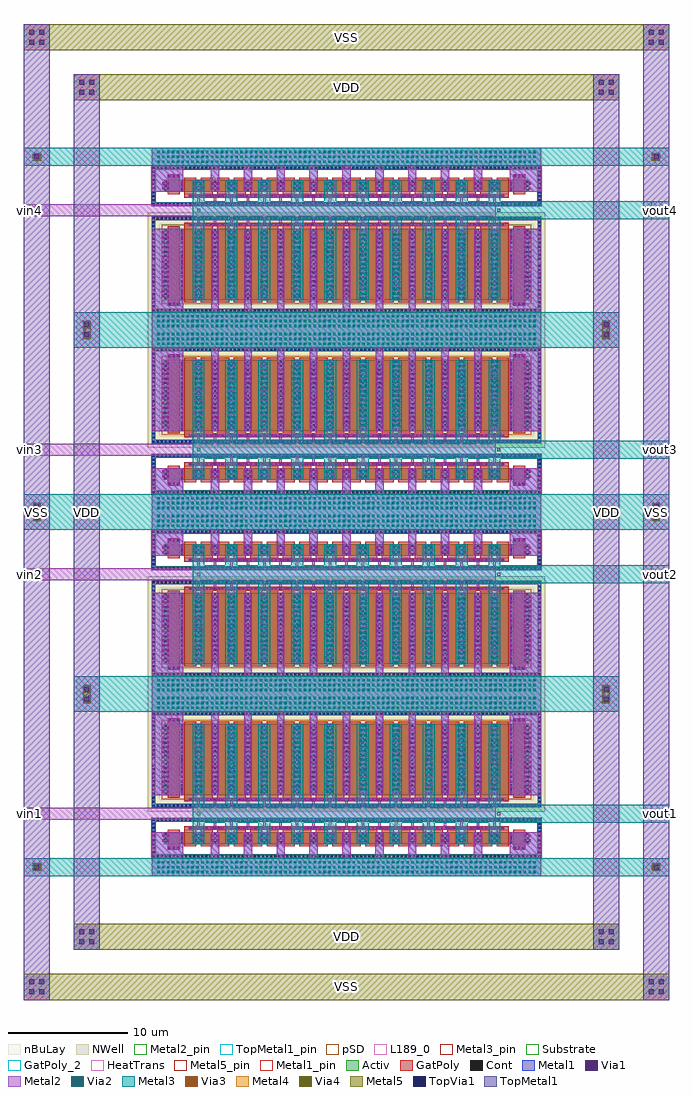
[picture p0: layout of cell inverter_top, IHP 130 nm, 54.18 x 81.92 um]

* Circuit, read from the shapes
.subckt inverter_top VDD VSS vin1 vin2 vin3 vin4 vout1 vout2 vout3 vout4
XM1 VSS VSS VSS VSS sg13_lv_nmos w=1u l=1u m=8
XM2 vout1 vin1 VSS VSS sg13_lv_nmos w=1u l=1u m=20
XM3 vout2 vin2 VSS VSS sg13_lv_nmos w=1u l=1u m=20
XM4 vout3 vin3 VSS VSS sg13_lv_nmos w=1u l=1u m=20
XM5 vout4 vin4 VSS VSS sg13_lv_nmos w=1u l=1u m=20
XM6 VDD VDD VDD VDD sg13_lv_pmos w=6u l=1u m=8
XM7 vout1 vin1 VDD VDD sg13_lv_pmos w=6u l=1u m=20
XM8 vout2 vin2 VDD VDD sg13_lv_pmos w=6u l=1u m=20
XM9 vout3 vin3 VDD VDD sg13_lv_pmos w=6u l=1u m=20
XM10 vout4 vin4 VDD VDD sg13_lv_pmos w=6u l=1u m=20
.ends

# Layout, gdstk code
from math import pi, radians
import gdstk
lib = gdstk.Library(unit=1e-6, precision=1e-09)
def R(c, l, rs):  # rectangles x0, y0, x1, y1
    for r in rs: c.add(gdstk.rectangle(r[:2], r[2:], *l))
def A(c, l, x, y, w, h, nx, ny, dx, dy):  # array of equal rectangles
    R(c, l, [(x+i*dx, y+j*dy, x+i*dx+w, y+j*dy+h) for i in range(nx) for j in range(ny)])
def P(c, l, *ps):  # polygons
    for p in ps: c.add(gdstk.Polygon(p, *l))
Activ = (1, 0)
GatPoly = (5, 0)
GatPoly_2 = (5, 2)
Cont = (6, 0)
Metal1 = (8, 0)
Metal1_pin = (8, 2)
Metal2 = (10, 0)
Metal2_pin = (10, 2)
pSD = (14, 0)
Via1 = (19, 0)
Via2 = (29, 0)
Metal3 = (30, 0)
Metal3_pin = (30, 2)
NWell = (31, 0)
nBuLay = (32, 0)
Substrate = (40, 0)
Via3 = (49, 0)
Metal4 = (50, 0)
HeatTrans = (51, 0)
Via4 = (66, 0)
Metal5 = (67, 0)
Metal5_pin = (67, 2)
TopVia1 = (125, 0)
TopMetal1 = (126, 0)
TopMetal1_pin = (126, 2)
L189_0 = (189, 0)

pmos = lib.new_cell('pmos')
A(pmos, Activ, 0, 0, 0.3, 0.3, 23, 1, 1.38, 0)
R(pmos, Activ, [(-1.01,-0.71,-0.71,6.71), (31.37,-0.71,31.67,6.71), (0,0,30.66,6), (-1.01,6.71,31.67,7.01)])
P(pmos, Activ, [(-1.01,-1.01),(-1.01,6.71),(-0.71,6.71),(-0.71,-0.71),(31.37,-0.71),(31.37,6.71),(-1.01,6.71),(-1.01,7.01),(31.67,7.01),(31.67,-1.01)])
A(pmos, GatPoly, 0.34, -0.18, 1, 6.36, 22, 1, 1.38, 0)
R(pmos, GatPoly, [(0.34,-0.18,1.34,6.18)])
A(pmos, Cont, -0.94, -0.94, 0.16, 0.16, 48, 2, 0.34, 7.72)
A(pmos, Cont, 15.46, -0.94, 0.16, 0.16, 48, 2, 0.34, 7.72)
A(pmos, Cont, -0.94, -0.6, 0.16, 0.16, 1, 10, 0, 0.34)
A(pmos, Cont, 31.44, -0.6, 0.16, 0.16, 1, 10, 0, 0.34)
A(pmos, Cont, 0.07, 0.07, 0.16, 0.16, 23, 4, 1.38, 0.355)
A(pmos, Cont, 0.07, 1.495, 0.16, 0.16, 23, 4, 1.38, 0.355)
A(pmos, Cont, 0.07, 2.92, 0.16, 0.16, 23, 4, 1.38, 0.355)
A(pmos, Cont, -0.94, 3.04, 0.16, 0.16, 1, 11, 0, 0.34)
A(pmos, Cont, 31.44, 3.04, 0.16, 0.16, 1, 11, 0, 0.34)
A(pmos, Cont, 0.07, 4.345, 0.16, 0.16, 23, 4, 1.38, 0.355)
A(pmos, Cont, 0.07, 5.77, 0.16, 0.16, 23, 1, 1.38, 0)
A(pmos, Metal1, 1.45, 0, 0.16, 6, 22, 1, 1.38, 0)
R(pmos, Metal1, [(-1.01,-1.01,31.67,-0.71), (-1.01,-0.71,-0.71,6.71), (31.37,-0.71,31.67,6.71), (0.07,0,0.23,6), (0.07,0,0.23,6), (1.45,0,1.61,6), (-1.01,6.71,31.67,7.01)])
R(pmos, pSD, [(-0.18,-0.3,30.84,6.3)])
R(pmos, NWell, [(-1.36,-1.36,32.02,7.36), (-0.31,-0.31,30.97,6.31)])
R(pmos, nBuLay, [(-1.36,-0.36,-0.36,6.36), (31.02,-0.36,32.02,6.36), (-1.36,6.36,32.02,7.36)])
P(pmos, nBuLay, [(-1.36,-1.36),(-1.36,6.36),(-0.36,6.36),(-0.36,-0.36),(31.02,-0.36),(31.02,6.36),(-1.36,6.36),(-1.36,7.36),(32.02,7.36),(32.02,-1.36)])
R(pmos, Substrate, [(30.36,0,30.66,0.3)])
A(pmos, HeatTrans, 0.34, -0.18, 1, 6.36, 22, 1, 1.38, 0)
pmos.add(gdstk.Label('pmos', (0.84,3), layer=63, texttype=0))
pmos.add(gdstk.Label('well', (15.33,-0.86), layer=63, texttype=0))
pmos.add(gdstk.Label('pmos', (0.84,3), layer=51, texttype=0))
pmos.add(gdstk.Label('pmos', (2.22,3), layer=51, texttype=0))
pmos.add(gdstk.Label('pmos', (3.6,3), layer=51, texttype=0))
pmos.add(gdstk.Label('pmos', (4.98,3), layer=51, texttype=0))
pmos.add(gdstk.Label('pmos', (6.36,3), layer=51, texttype=0))
pmos.add(gdstk.Label('pmos', (7.74,3), layer=51, texttype=0))
pmos.add(gdstk.Label('pmos', (9.12,3), layer=51, texttype=0))
pmos.add(gdstk.Label('pmos', (10.5,3), layer=51, texttype=0))
pmos.add(gdstk.Label('pmos', (11.88,3), layer=51, texttype=0))
pmos.add(gdstk.Label('pmos', (13.26,3), layer=51, texttype=0))
pmos.add(gdstk.Label('pmos', (14.64,3), layer=51, texttype=0))
pmos.add(gdstk.Label('pmos', (16.02,3), layer=51, texttype=0))
pmos.add(gdstk.Label('pmos', (17.4,3), layer=51, texttype=0))
pmos.add(gdstk.Label('pmos', (18.78,3), layer=51, texttype=0))
pmos.add(gdstk.Label('pmos', (20.16,3), layer=51, texttype=0))
pmos.add(gdstk.Label('pmos', (21.54,3), layer=51, texttype=0))
pmos.add(gdstk.Label('pmos', (22.92,3), layer=51, texttype=0))
pmos.add(gdstk.Label('pmos', (24.3,3), layer=51, texttype=0))
pmos.add(gdstk.Label('pmos', (25.68,3), layer=51, texttype=0))
pmos.add(gdstk.Label('pmos', (27.06,3), layer=51, texttype=0))
pmos.add(gdstk.Label('pmos', (28.44,3), layer=51, texttype=0))
pmos.add(gdstk.Label('pmos', (29.82,3), layer=51, texttype=0))

nmos = lib.new_cell('nmos')
A(nmos, Activ, 0, 0, 0.3, 0.3, 23, 1, 1.38, 0)
R(nmos, Activ, [(-1.01,-0.89,-0.71,1.89), (31.37,-0.89,31.67,1.89), (0,0,30.66,1), (-1.01,1.89,31.67,2.19)])
P(nmos, Activ, [(-1.01,-1.19),(-1.01,1.89),(-0.71,1.89),(-0.71,-0.89),(31.37,-0.89),(31.37,1.89),(-1.01,1.89),(-1.01,2.19),(31.67,2.19),(31.67,-1.19)])
A(nmos, GatPoly, 0.34, -0.18, 1, 1.36, 22, 1, 1.38, 0)
R(nmos, GatPoly_2, [(0.34,-0.18,1.34,1.18)])
A(nmos, Cont, -0.94, -1.12, 0.16, 0.16, 48, 2, 0.34, 3.08)
A(nmos, Cont, 15.46, -1.12, 0.16, 0.16, 48, 2, 0.34, 3.08)
A(nmos, Cont, -0.94, -0.78, 0.16, 0.16, 1, 4, 0, 0.34)
A(nmos, Cont, 31.44, -0.78, 0.16, 0.16, 1, 4, 0, 0.34)
A(nmos, Cont, 0.07, 0.07, 0.16, 0.16, 23, 3, 1.38, 0.35)
A(nmos, Cont, -0.94, 0.6, 0.16, 0.16, 1, 4, 0, 0.34)
A(nmos, Cont, 31.44, 0.6, 0.16, 0.16, 1, 4, 0, 0.34)
A(nmos, Metal1, 0.07, 0, 0.16, 1, 23, 1, 1.38, 0)
R(nmos, Metal1, [(-1.01,-1.19,31.67,-0.89), (-1.01,-0.89,-0.71,1.89), (31.37,-0.89,31.67,1.89), (-1.01,1.89,31.67,2.19)])
R(nmos, Metal1_pin, [(0.07,0,0.23,1), (1.45,0,1.61,1)])
R(nmos, pSD, [(-1.04,-0.86,-0.68,1.86), (31.34,-0.86,31.7,1.86), (-1.04,1.86,31.7,2.22)])
P(nmos, pSD, [(-1.04,-1.22),(-1.04,1.86),(-0.68,1.86),(-0.68,-0.86),(31.34,-0.86),(31.34,1.86),(-1.04,1.86),(-1.04,2.22),(31.7,2.22),(31.7,-1.22)])
R(nmos, Substrate, [(-1.04,-0.86,-0.68,1.86), (31.34,-0.86,31.7,1.86), (-1.04,1.86,31.7,2.22)])
P(nmos, Substrate, [(-1.04,-1.22),(-1.04,1.86),(-0.68,1.86),(-0.68,-0.86),(31.34,-0.86),(31.34,1.86),(-1.04,1.86),(-1.04,2.22),(31.7,2.22),(31.7,-1.22)])
A(nmos, HeatTrans, 0.34, -0.18, 1, 1.36, 22, 1, 1.38, 0)
nmos.add(gdstk.Label('nmos', (0.84,0.5), layer=63, texttype=0))
nmos.add(gdstk.Label('sub!', (15.33,-1.04), layer=63, texttype=0))
nmos.add(gdstk.Label('nmos', (0.84,0.5), layer=51, texttype=0))
nmos.add(gdstk.Label('nmos', (2.22,0.5), layer=51, texttype=0))
nmos.add(gdstk.Label('nmos', (3.6,0.5), layer=51, texttype=0))
nmos.add(gdstk.Label('nmos', (4.98,0.5), layer=51, texttype=0))
nmos.add(gdstk.Label('nmos', (6.36,0.5), layer=51, texttype=0))
nmos.add(gdstk.Label('nmos', (7.74,0.5), layer=51, texttype=0))
nmos.add(gdstk.Label('nmos', (9.12,0.5), layer=51, texttype=0))
nmos.add(gdstk.Label('nmos', (10.5,0.5), layer=51, texttype=0))
nmos.add(gdstk.Label('nmos', (11.88,0.5), layer=51, texttype=0))
nmos.add(gdstk.Label('nmos', (13.26,0.5), layer=51, texttype=0))
nmos.add(gdstk.Label('nmos', (14.64,0.5), layer=51, texttype=0))
nmos.add(gdstk.Label('nmos', (16.02,0.5), layer=51, texttype=0))
nmos.add(gdstk.Label('nmos', (17.4,0.5), layer=51, texttype=0))
nmos.add(gdstk.Label('nmos', (18.78,0.5), layer=51, texttype=0))
nmos.add(gdstk.Label('nmos', (20.16,0.5), layer=51, texttype=0))
nmos.add(gdstk.Label('nmos', (21.54,0.5), layer=51, texttype=0))
nmos.add(gdstk.Label('nmos', (22.92,0.5), layer=51, texttype=0))
nmos.add(gdstk.Label('nmos', (24.3,0.5), layer=51, texttype=0))
nmos.add(gdstk.Label('nmos', (25.68,0.5), layer=51, texttype=0))
nmos.add(gdstk.Label('nmos', (27.06,0.5), layer=51, texttype=0))
nmos.add(gdstk.Label('nmos', (28.44,0.5), layer=51, texttype=0))
nmos.add(gdstk.Label('nmos', (29.82,0.5), layer=51, texttype=0))

via_stack_21 = lib.new_cell('via_stack$21')
R(via_stack_21, Metal1, [(-15.93,-0.515,15.93,0.515)])
R(via_stack_21, Metal2, [(-15.93,-0.51,15.93,0.51)])
A(via_stack_21, Via1, -15.88, -0.505, 0.19, 0.19, 78, 3, 0.41, 0.41)
A(via_stack_21, Via2, -15.88, -0.505, 0.19, 0.19, 78, 3, 0.41, 0.41)
R(via_stack_21, Metal3, [(-15.93,-0.51,15.93,0.51)])

via_stack_13 = lib.new_cell('via_stack$13')
R(via_stack_13, GatPoly, [(-13.24,-0.15,13.24,0.15)])
A(via_stack_13, Cont, -13.17, -0.08, 0.16, 0.16, 78, 1, 0.34, 0)
R(via_stack_13, Metal1, [(-13.22,-0.08,13.22,0.08)])

via_stack_16 = lib.new_cell('via_stack$16')
R(via_stack_16, Metal1, [(-13.06,-0.105,13.06,0.105)])
R(via_stack_16, Metal2, [(-13.06,-0.1,13.06,0.1)])
A(via_stack_16, Via1, -13.01, -0.095, 0.19, 0.19, 64, 1, 0.41, 0)

via_stack_5 = lib.new_cell('via_stack$5')
R(via_stack_5, Metal1, [(-0.35,-0.31,0.35,0.31)])
R(via_stack_5, Metal2, [(-0.35,-0.305,0.35,0.305)])
R(via_stack_5, Via1, [(-0.3,-0.3,-0.11,-0.11), (0.11,-0.3,0.3,-0.11), (-0.3,0.11,-0.11,0.3), (0.11,0.11,0.3,0.3)])

via_stack_12 = lib.new_cell('via_stack$12')
R(via_stack_12, Metal1, [(-0.31,-2.81,0.31,2.81)])
R(via_stack_12, Metal2, [(-0.305,-2.81,0.305,2.81)])
A(via_stack_12, Via1, -0.3, -2.76, 0.19, 0.19, 1, 14, 0, 0.41)
A(via_stack_12, Via1, 0.11, -2.76, 0.19, 0.19, 1, 14, 0, 0.41)
A(via_stack_12, Via2, -0.3, -2.76, 0.19, 0.19, 1, 14, 0, 0.41)
A(via_stack_12, Via2, 0.11, -2.76, 0.19, 0.19, 1, 14, 0, 0.41)
R(via_stack_12, Metal3, [(-0.305,-2.81,0.305,2.81)])

via_stack_17 = lib.new_cell('via_stack$17')
R(via_stack_17, Metal1, [(-0.35,-0.31,0.35,0.31)])
R(via_stack_17, Metal2, [(-0.35,-0.305,0.35,0.305)])
R(via_stack_17, Via1, [(-0.3,-0.3,-0.11,-0.11), (0.11,-0.3,0.3,-0.11), (-0.3,0.11,-0.11,0.3), (0.11,0.11,0.3,0.3)])
R(via_stack_17, Via2, [(-0.3,-0.3,-0.11,-0.11), (0.11,-0.3,0.3,-0.11), (-0.3,0.11,-0.11,0.3), (0.11,0.11,0.3,0.3)])
R(via_stack_17, Metal3, [(-0.35,-0.305,0.35,0.305)])

via_stack_8 = lib.new_cell('via_stack$8')
R(via_stack_8, Metal1, [(-0.105,-0.35,0.105,0.35)])
R(via_stack_8, Metal2, [(-0.1,-0.35,0.1,0.35)])
R(via_stack_8, Via1, [(-0.095,-0.3,0.095,-0.11), (-0.095,0.11,0.095,0.3)])

via_stack_11 = lib.new_cell('via_stack$11')
R(via_stack_11, Metal1, [(-0.31,-2.81,0.31,2.81)])
R(via_stack_11, Metal2, [(-0.305,-2.81,0.305,2.81)])
A(via_stack_11, Via1, -0.3, -2.76, 0.19, 0.19, 1, 14, 0, 0.41)
A(via_stack_11, Via1, 0.11, -2.76, 0.19, 0.19, 1, 14, 0, 0.41)

via_stack_7 = lib.new_cell('via_stack$7')
R(via_stack_7, Metal1, [(-0.105,-2.81,0.105,2.81)])
R(via_stack_7, Metal2, [(-0.1,-2.81,0.1,2.81)])
A(via_stack_7, Via1, -0.095, -2.76, 0.19, 0.19, 1, 14, 0, 0.41)

via_stack_15 = lib.new_cell('via_stack$15')
R(via_stack_15, GatPoly, [(-0.49,-0.15,0.49,0.15)])
A(via_stack_15, Cont, -0.42, -0.08, 0.16, 0.16, 3, 1, 0.34, 0)
R(via_stack_15, Metal1, [(-0.555,-0.105,0.555,0.105)])
R(via_stack_15, Metal2, [(-0.555,-0.1,0.555,0.1)])
A(via_stack_15, Via1, -0.505, -0.095, 0.19, 0.19, 3, 1, 0.41, 0)

inverter = lib.new_cell('inverter')
R(inverter, GatPoly, [(1.7,2.21,2.7,2.51), (30.68,2.21,31.68,2.51), (3.08,3.87,30.3,4.17), (3.08,6.29,30.3,6.59), (1.7,12.95,2.7,13.25), (30.68,12.95,31.68,13.25)])
A(inverter, Metal1, 5.3, 1.5, 0.7, 2.19, 9, 1, 2.76, 0)
A(inverter, Metal1, 3.92, 2.69, 0.7, 1, 19, 1, 1.38, 0)
A(inverter, Metal1, 3.96, 6.77, 0.62, 6, 19, 1, 1.38, 0)
A(inverter, Metal1, 5.34, 6.77, 0.62, 7.01, 9, 1, 2.76, 0)
R(inverter, Metal1, [(0.35,0,33.03,1.5), (0.35,1.5,2.995,3.69), (16.44,1.5,16.94,1.8), (30.385,1.5,33.03,3.69), (1.645,2.21,2.755,2.51), (30.625,2.21,31.735,2.51), (1.16,2.69,1.86,3.69), (31.52,2.69,32.22,3.69), (3.47,3.915,29.91,4.125), (3.47,6.335,29.91,6.545), (0.35,6.77,2.995,13.78), (1.2,6.77,1.82,12.77), (2.785,6.77,2.995,12.77), (30.385,6.77,33.03,13.78), (30.385,6.77,30.595,12.77), (31.56,6.77,32.18,12.77), (1.645,12.95,2.755,13.25), (30.625,12.95,31.735,13.25), (16.44,13.48,16.94,13.78), (0.35,13.78,33.03,15.28)])
R(inverter, Metal1_pin, [(16.565,1.525,16.815,1.775), (16.565,13.505,16.815,13.755)])
A(inverter, Metal2, 5.3, 1.5, 0.7, 2.19, 9, 1, 2.76, 0)
A(inverter, Metal2, 3.92, 2.69, 0.7, 1, 19, 1, 1.38, 0)
A(inverter, Metal2, 4.165, 4.12, 0.21, 2.22, 19, 1, 1.38, 0)
A(inverter, Metal2, 3.96, 6.77, 0.62, 6, 19, 1, 1.38, 0)
A(inverter, Metal2, 5.34, 6.77, 0.62, 7.01, 9, 1, 2.76, 0)
R(inverter, Metal2, [(0.35,0,33.03,1.5), (0.35,1.5,2.995,3.69), (30.385,1.5,33.03,3.69), (1.645,2.21,2.755,2.51), (30.625,2.21,31.735,2.51), (1.16,2.69,1.86,3.69), (31.52,2.69,32.22,3.69), (3.47,3.915,29.91,4.125), (4.165,4.73,29.215,5.73), (3.47,6.335,29.91,6.545), (0.35,6.77,2.995,13.78), (1.2,6.77,1.82,12.77), (2.785,6.77,2.995,12.77), (30.385,6.77,33.03,13.78), (30.385,6.77,30.595,12.77), (31.56,6.77,32.18,12.77), (1.645,12.95,2.755,13.25), (30.625,12.95,31.735,13.25), (0.35,13.78,33.03,15.28)])
R(inverter, Metal2_pin, [(4.165,5.105,4.415,5.355)])
A(inverter, Metal3, 3.77, 2.69, 1, 10.08, 10, 1, 2.76, 0)
R(inverter, Metal3, [(0.35,0,33.03,1.5), (3.77,4.48,29.61,5.98), (17.57,4.48,29.61,5.98), (0.35,13.78,33.03,15.28)])
R(inverter, Metal3_pin, [(29.36,5.105,29.61,5.355)])
inverter.add(gdstk.Reference(pmos, (1.36,6.77)))
inverter.add(gdstk.Reference(nmos, (1.36,2.69)))
inverter.add(gdstk.Reference(via_stack_21, (16.69,14.53)))
inverter.add(gdstk.Reference(via_stack_13, (16.69,6.44)))
inverter.add(gdstk.Reference(via_stack_16, (16.69,6.44)))
inverter.add(gdstk.Reference(via_stack_5, (11.17,3.19)))
inverter.add(gdstk.Reference(via_stack_12, (4.27,9.77)))
inverter.add(gdstk.Reference(via_stack_13, (16.69,4.02)))
inverter.add(gdstk.Reference(via_stack_17, (4.27,3.19)))
inverter.add(gdstk.Reference(via_stack_17, (7.03,3.19)))
inverter.add(gdstk.Reference(via_stack_5, (31.87,3.19)))
inverter.add(gdstk.Reference(via_stack_5, (8.41,3.19)))
inverter.add(gdstk.Reference(via_stack_5, (5.65,3.19)))
inverter.add(gdstk.Reference(via_stack_8, (30.49,3.19)))
inverter.add(gdstk.Reference(via_stack_5, (1.51,3.19)))
inverter.add(gdstk.Reference(via_stack_17, (9.79,3.19)))
inverter.add(gdstk.Reference(via_stack_8, (2.89,3.19)))
inverter.add(gdstk.Reference(via_stack_11, (31.87,9.77)))
inverter.add(gdstk.Reference(via_stack_12, (9.79,9.77)))
inverter.add(gdstk.Reference(via_stack_7, (30.49,9.77)))
inverter.add(gdstk.Reference(via_stack_7, (2.89,9.77)))
inverter.add(gdstk.Reference(via_stack_11, (1.51,9.77)))
inverter.add(gdstk.Reference(via_stack_12, (7.03,9.77)))
inverter.add(gdstk.Reference(via_stack_11, (5.65,9.77)))
inverter.add(gdstk.Reference(via_stack_11, (8.41,9.77)))
inverter.add(gdstk.Reference(via_stack_15, (2.2,2.36)))
inverter.add(gdstk.Reference(via_stack_15, (31.18,2.36)))
inverter.add(gdstk.Reference(via_stack_15, (2.2,13.1)))
inverter.add(gdstk.Reference(via_stack_15, (31.18,13.1)))
inverter.add(gdstk.Reference(via_stack_12, (12.55,9.77)))
inverter.add(gdstk.Reference(via_stack_16, (16.69,4.02)))
inverter.add(gdstk.Reference(via_stack_17, (12.55,3.19)))
inverter.add(gdstk.Reference(via_stack_17, (15.31,3.19)))
inverter.add(gdstk.Reference(via_stack_5, (13.93,3.19)))
inverter.add(gdstk.Reference(via_stack_12, (15.31,9.77)))
inverter.add(gdstk.Reference(via_stack_11, (11.17,9.77)))
inverter.add(gdstk.Reference(via_stack_11, (13.93,9.77)))
inverter.add(gdstk.Reference(via_stack_11, (19.45,9.77)))
inverter.add(gdstk.Reference(via_stack_5, (22.21,3.19)))
inverter.add(gdstk.Reference(via_stack_12, (18.07,9.96)))
inverter.add(gdstk.Reference(via_stack_17, (29.11,3.19)))
inverter.add(gdstk.Reference(via_stack_17, (18.07,3.19)))
inverter.add(gdstk.Reference(via_stack_5, (19.45,3.19)))
inverter.add(gdstk.Reference(via_stack_5, (16.69,3.19)))
inverter.add(gdstk.Reference(via_stack_17, (20.83,3.19)))
inverter.add(gdstk.Reference(via_stack_12, (23.59,9.96)))
inverter.add(gdstk.Reference(via_stack_12, (20.83,9.96)))
inverter.add(gdstk.Reference(via_stack_11, (16.69,9.77)))
inverter.add(gdstk.Reference(via_stack_12, (26.35,9.96)))
inverter.add(gdstk.Reference(via_stack_17, (23.59,3.19)))
inverter.add(gdstk.Reference(via_stack_11, (24.97,9.77)))
inverter.add(gdstk.Reference(via_stack_5, (27.73,3.19)))
inverter.add(gdstk.Reference(via_stack_17, (26.35,3.19)))
inverter.add(gdstk.Reference(via_stack_5, (24.97,3.19)))
inverter.add(gdstk.Reference(via_stack_12, (29.11,9.96)))
inverter.add(gdstk.Reference(via_stack_11, (22.21,9.77)))
inverter.add(gdstk.Reference(via_stack_11, (27.73,9.77)))
inverter.add(gdstk.Reference(via_stack_21, (16.69,0.75)))
inverter.add(gdstk.Label('vin', (4.29,5.23), layer=10, texttype=25))
inverter.add(gdstk.Label('VSS', (16.69,1.65), layer=8, texttype=25))
inverter.add(gdstk.Label('VDD', (16.69,13.63), layer=8, texttype=25))
inverter.add(gdstk.Label('vout', (29.485,5.23), layer=30, texttype=25))

via_stack_19 = lib.new_cell('via_stack$19')
R(via_stack_19, Metal3, [(-0.305,-0.76,0.305,0.76)])
A(via_stack_19, Via3, -0.3, -0.71, 0.19, 0.19, 1, 4, 0, 0.41)
A(via_stack_19, Via3, 0.11, -0.71, 0.19, 0.19, 1, 4, 0, 0.41)
R(via_stack_19, Metal4, [(-0.305,-0.76,0.305,0.76)])
A(via_stack_19, Via4, -0.3, -0.71, 0.19, 0.19, 1, 4, 0, 0.41)
A(via_stack_19, Via4, 0.11, -0.71, 0.19, 0.19, 1, 4, 0, 0.41)
R(via_stack_19, Metal5, [(-0.31,-0.76,0.31,0.76)])
R(via_stack_19, TopVia1, [(-0.21,-0.63,0.21,-0.21), (-0.21,0.21,0.21,0.63)])
R(via_stack_19, TopMetal1, [(-0.82,-1.05,0.82,1.05)])

via = lib.new_cell('Via')
R(via, Metal5, [(-0.73,-0.73,0.73,0.73)])
R(via, TopVia1, [(-0.63,-0.63,-0.21,-0.21), (0.21,-0.63,0.63,-0.21), (-0.63,0.21,-0.21,0.63), (0.21,0.21,0.63,0.63)])
R(via, TopMetal1, [(-1.05,-1.05,1.05,1.05)])

via_stack = lib.new_cell('via_stack')
R(via_stack, Metal3, [(-0.35,-0.305,0.35,0.305)])
R(via_stack, Via3, [(-0.3,-0.3,-0.11,-0.11), (0.11,-0.3,0.3,-0.11), (-0.3,0.11,-0.11,0.3), (0.11,0.11,0.3,0.3)])
R(via_stack, Metal4, [(-0.35,-0.305,0.35,0.305)])
R(via_stack, Via4, [(-0.3,-0.3,-0.11,-0.11), (0.11,-0.3,0.3,-0.11), (-0.3,0.11,-0.11,0.3), (0.11,0.11,0.3,0.3)])
R(via_stack, Metal5, [(-0.35,-0.31,0.35,0.31)])
R(via_stack, TopVia1, [(-0.21,-0.21,0.21,0.21)])
R(via_stack, TopMetal1, [(-0.82,-0.82,0.82,0.82)])

inverter_top = lib.new_cell('inverter_top')
R(inverter_top, Metal2, [(0,15.13,14.565,16.13), (0,35.23,14.565,36.23), (0,45.69,14.565,46.69), (0,65.79,14.565,66.79)])
R(inverter_top, Metal2_pin, [(0,15.13,1,16.13), (0,35.23,1,36.23), (0,45.69,1,46.69), (0,65.79,1,66.79)])
R(inverter_top, Metal3, [(0,10.4,10.75,11.9), (0,10.4,2.2,11.9), (43.43,10.4,54.18,11.9), (51.98,10.4,54.18,11.9), (40.01,14.88,54.18,16.38), (4.2,24.18,10.75,27.18), (4.2,24.18,6.4,27.18), (43.43,24.18,49.98,27.18), (47.78,24.18,49.98,27.18), (40.01,34.98,54.18,36.48), (0,39.46,10.75,42.46), (0,39.46,2.2,42.46), (43.43,39.46,54.18,42.46), (51.98,39.46,54.18,42.46), (40.01,45.44,54.18,46.94), (4.2,54.74,10.75,57.74), (4.2,54.74,6.4,57.74), (43.43,54.74,49.98,57.74), (47.78,54.74,49.98,57.74), (40.01,65.54,54.18,67.04), (0,70.02,10.75,71.52), (0,70.02,2.2,71.52), (43.43,70.02,54.18,71.52), (51.98,70.02,54.18,71.52)])
R(inverter_top, Metal3_pin, [(52.68,14.88,54.18,16.38), (52.68,34.98,54.18,36.48), (52.68,45.44,54.18,46.94), (52.68,65.54,54.18,67.04)])
R(inverter_top, NWell, [(10.4,24.53,43.78,26.83), (10.4,55.09,43.78,57.39)])
R(inverter_top, Metal5, [(0,0,54.18,2.2), (0,0,2.2,2.2), (51.98,0,54.18,2.2), (4.2,4.2,49.98,6.4), (4.2,4.2,6.4,6.4), (47.78,4.2,49.98,6.4), (4.2,75.52,49.98,77.72), (4.2,75.52,6.4,77.72), (47.78,75.52,49.98,77.72), (0,79.72,54.18,81.92), (0,79.72,2.2,81.92), (51.98,79.72,54.18,81.92)])
R(inverter_top, Metal5_pin, [(0,0,54.18,2.2), (0,0,54.18,2.2), (4.2,4.2,49.98,6.4), (4.2,4.2,49.98,6.4), (4.2,75.52,49.98,77.72), (4.2,75.52,49.98,77.72), (0,79.72,54.18,81.92), (0,79.72,54.18,81.92)])
R(inverter_top, TopMetal1, [(0,0,2.2,81.92), (51.98,0,54.18,81.92), (4.2,4.2,6.4,77.72), (47.78,4.2,49.98,77.72)])
R(inverter_top, TopMetal1_pin, [(0,0,2.2,81.92), (0,0,2.2,81.92), (51.98,0,54.18,81.92), (51.98,0,54.18,81.92), (4.2,4.2,6.4,77.72), (4.2,4.2,6.4,77.72), (47.78,4.2,49.98,77.72), (47.78,4.2,49.98,77.72)])
R(inverter_top, L189_0, [(0,0,54.18,81.92)])
inverter_top.add(gdstk.Reference(inverter, (10.4,10.4)))
inverter_top.add(gdstk.Reference(inverter, (10.4,40.96), x_reflection=True))
inverter_top.add(gdstk.Reference(via_stack_19, (5.3,25.68), rotation=pi))
inverter_top.add(gdstk.Reference(inverter, (10.4,40.96)))
inverter_top.add(gdstk.Reference(inverter, (10.4,71.52), x_reflection=True))
inverter_top.add(gdstk.Reference(via, (1.1,1.1), rotation=pi))
inverter_top.add(gdstk.Reference(via, (53.08,1.1), rotation=pi))
inverter_top.add(gdstk.Reference(via, (53.08,80.82), rotation=pi))
inverter_top.add(gdstk.Reference(via_stack_19, (5.3,56.24), rotation=pi))
inverter_top.add(gdstk.Reference(via_stack, (1.1,11.15), rotation=pi))
inverter_top.add(gdstk.Reference(via_stack_19, (48.88,25.68), rotation=pi))
inverter_top.add(gdstk.Reference(via_stack_19, (48.88,56.24), rotation=pi))
inverter_top.add(gdstk.Reference(via_stack_19, (53.08,40.96), rotation=pi))
inverter_top.add(gdstk.Reference(via_stack_19, (1.1,40.96), rotation=pi))
inverter_top.add(gdstk.Reference(via_stack, (53.08,11.15), rotation=pi))
inverter_top.add(gdstk.Reference(via_stack, (53.08,70.77), rotation=pi))
inverter_top.add(gdstk.Reference(via_stack, (1.1,70.77), rotation=pi))
inverter_top.add(gdstk.Reference(via, (1.1,80.82), rotation=pi))
inverter_top.add(gdstk.Reference(via, (5.3,76.62), rotation=pi))
inverter_top.add(gdstk.Reference(via, (48.88,76.62), rotation=pi))
inverter_top.add(gdstk.Reference(via, (48.88,5.3), rotation=pi))
inverter_top.add(gdstk.Reference(via, (5.3,5.3), rotation=pi))
inverter_top.add(gdstk.Label('vin1', (0.5,15.63), layer=10, texttype=25))
inverter_top.add(gdstk.Label('vin2', (0.5,35.73), layer=10, texttype=25))
inverter_top.add(gdstk.Label('vin3', (0.5,46.19), layer=10, texttype=25))
inverter_top.add(gdstk.Label('vin4', (0.5,66.29), layer=10, texttype=25))
inverter_top.add(gdstk.Label('vout1', (53.43,15.63), layer=30, texttype=25))
inverter_top.add(gdstk.Label('vout2', (53.43,35.73), layer=30, texttype=25))
inverter_top.add(gdstk.Label('vout3', (53.43,46.19), layer=30, texttype=25))
inverter_top.add(gdstk.Label('vout4', (53.43,66.29), layer=30, texttype=25))
inverter_top.add(gdstk.Label('VSS', (27.09,1.1), layer=67, texttype=25))
inverter_top.add(gdstk.Label('VDD', (27.09,5.3), layer=67, texttype=25))
inverter_top.add(gdstk.Label('VSS', (27.09,80.82), layer=67, texttype=25))
inverter_top.add(gdstk.Label('VDD', (27.09,76.62), layer=67, texttype=25))
inverter_top.add(gdstk.Label('VSS', (27.09,1.1), layer=67, texttype=25))
inverter_top.add(gdstk.Label('VDD', (27.09,5.3), layer=67, texttype=25))
inverter_top.add(gdstk.Label('VSS', (27.09,80.82), layer=67, texttype=25))
inverter_top.add(gdstk.Label('VDD', (27.09,76.62), layer=67, texttype=25))
inverter_top.add(gdstk.Label('VSS', (1.1,40.96), layer=126, texttype=25))
inverter_top.add(gdstk.Label('VSS', (53.08,40.96), layer=126, texttype=25))
inverter_top.add(gdstk.Label('VDD', (48.88,40.96), layer=126, texttype=25))
inverter_top.add(gdstk.Label('VDD', (5.3,40.96), layer=126, texttype=25))
inverter_top.add(gdstk.Label('VSS', (1.1,40.96), layer=126, texttype=25))
inverter_top.add(gdstk.Label('VSS', (53.08,40.96), layer=126, texttype=25))
inverter_top.add(gdstk.Label('VDD', (48.88,40.96), layer=126, texttype=25))
inverter_top.add(gdstk.Label('VDD', (5.3,40.96), layer=126, texttype=25))

lib.write_gds('inverter_top.gds')
